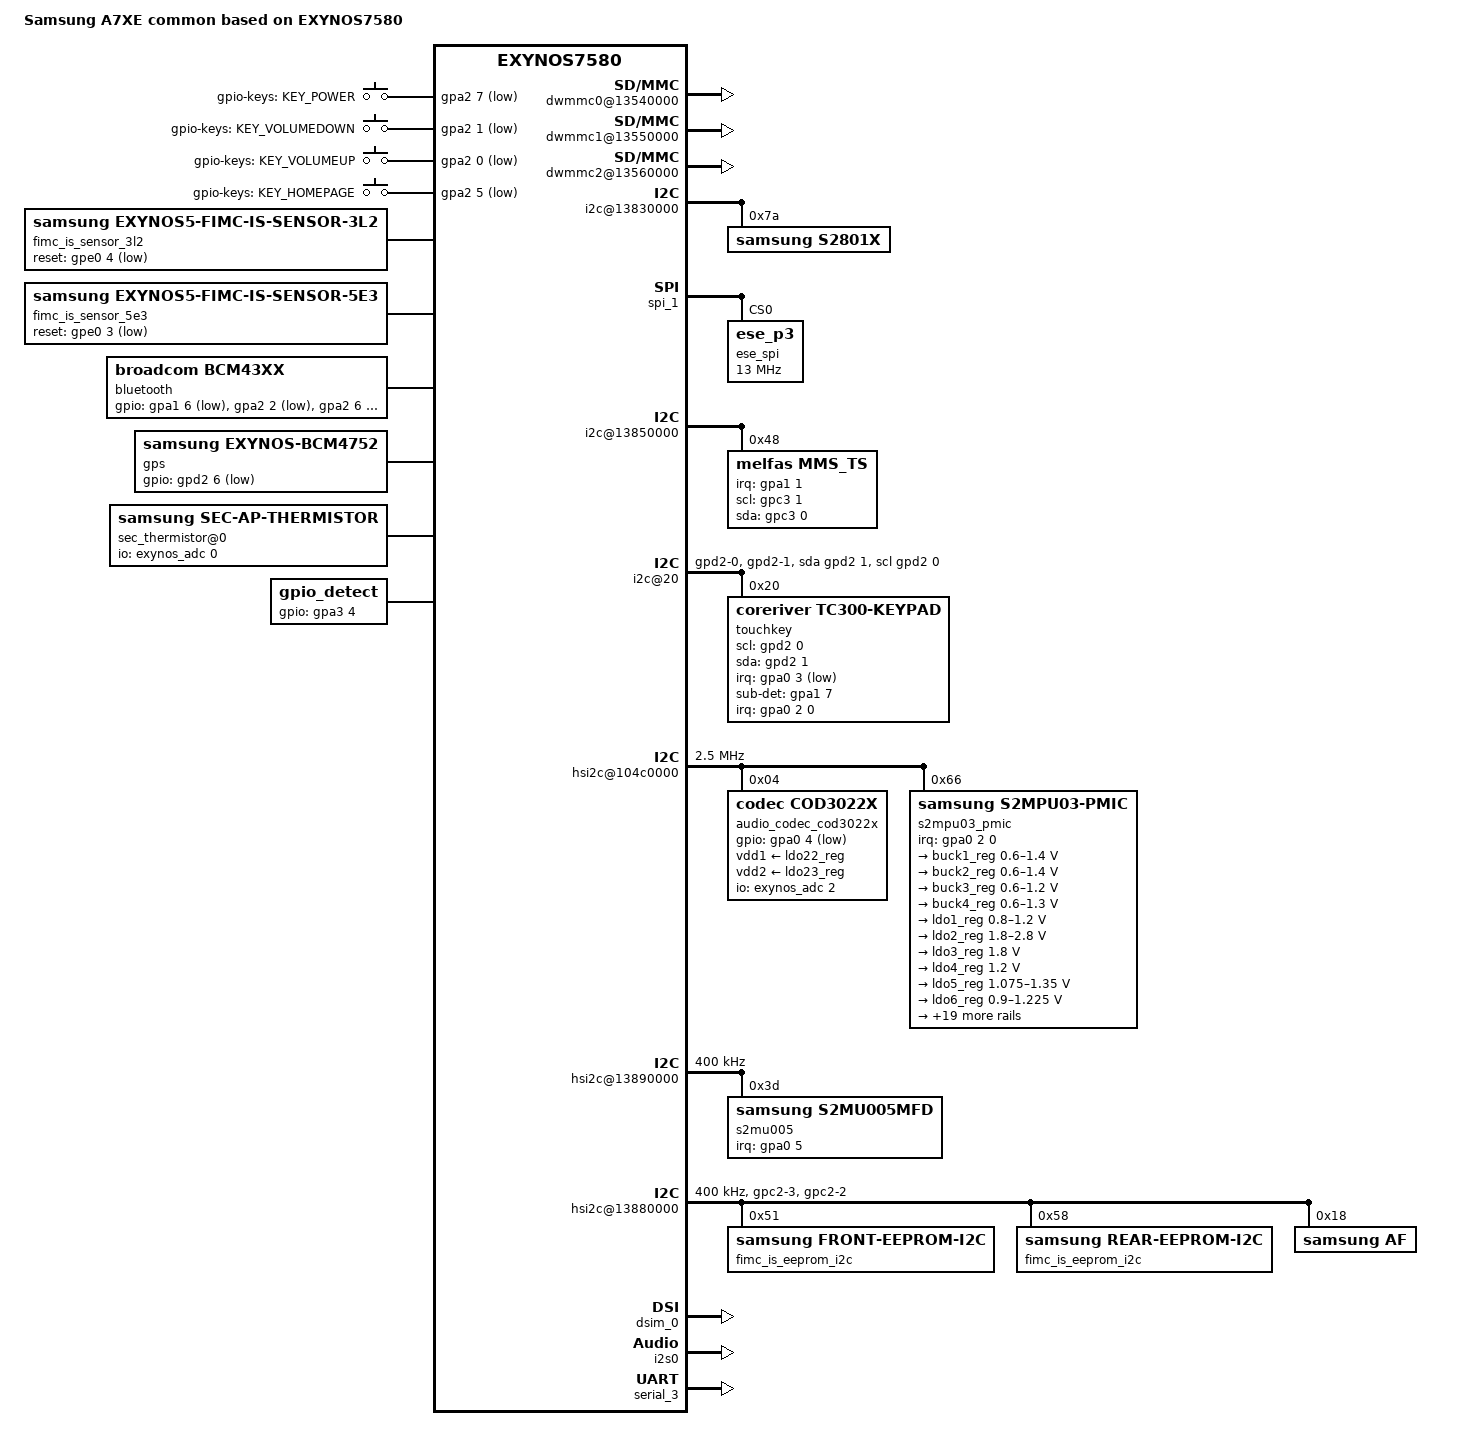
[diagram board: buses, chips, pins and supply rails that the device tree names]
/*
 * SAMSUNG A7XE board device tree source
 *
 *
 * This program is free software; you can redistribute it and/or modify
 * it under the terms of the GNU General Public License version 2 as
 * published by the Free Software Foundation.
 */

#include "exynos7580.dtsi"

/ {
	model = "Samsung A7XE common based on EXYNOS7580";
	compatible = "samsung,exynos7580-universal7580,r01", "samsung,exynos7580";

	chosen {
		bootargs = "console=ttySAC1,115200n8 ess_setup=0x46000000 pmic_info=0x02";
		linux,initrd-start = <0x42000000>;
		linux,initrd-end = <0x421FFFFF>;
	};

	fixed-rate-clocks {
		oscclk {
			compatible = "samsung,exynos7580-oscclk";
			clock-frequency = <26000000>;
		};
	};

	dwmmc0@13540000 {
		status = "okay";
		num-slots = <1>;
		broken-cd;
		use-smu;
		fixed_volt;
		clock-gate;
		enable-cclk-on-suspend;
		only_once_tune;
		use-fine-tuning;
		ignore-phase = <(1 << 7)>;
		bypass-for-allpass;
		supports-highspeed;
		supports-hs200-mode;
		supports-ddr200-enhanced-strobe;
		supports-poweroff-notification;
		supports-ddr200-mode;
		enable-cache-control;
		use-enable-shift;
		enable-ulp-mode;
		desc-size = <4>;
		qos_int_level = <200000>;
		fifo-depth = <0x40>;
		card-detect-delay = <0>;
		data-timeout = <200>;
		samsung,dw-mshc-ciu-div = <3>;
		samsung,dw-mshc-sdr-timing = <3 0 2 0>;
		samsung,dw-mshc-ddr-timing = <3 0 2 2>;
		samsung,dw-mshc-hs200-timing = <3 0 3 0>;
		samsung,dw-mshc-ddr200-timing = <1 0 2 0>;
		samsung,dw-mshc-ddr200-ulp-timing = <3 0 3 0>;
		samsung,dw-mshc-ddr200-delay-line = <0x28>;
		samsung,dw-mshc-ddr200-tx-delay-line = <0x28>;
		samsung,dw-mshc-txdt-crc-timer-fastlimit = <0x34>;
		samsung,dw-mshc-txdt-crc-timer-initval = <0x38>;
		clk_pin = "gpr0-0";
		clk_addr = "13750000.pinctrl";
		clk_val = <0x2>;
		clk_str_num = <4>;
		num-ref-clks = <10>;
		ciu_clkin = <25 50 50 100 200 100 200 400 400 200>;
		pinctrl-names = "default";
		pinctrl-0 = <&sd0_clk &sd0_cmd &sd0_rdqs &sd0_bus1 &sd0_bus4 &sd0_bus8>;
		slot@0 {
			reg = <0>;
			bus-width = <8>;
		};
	};

	dwmmc1@13550000 {
		status = "okay";
		num-slots = <1>;
		channel = <1>;
		fixed_volt;
		clock-gate;
		enable-cclk-on-suspend;
		/* broken-cd; */
		caps-control;
		supports-highspeed;
		keep-power-in-suspend;
		pm-ignore-notify;
		cd-type-external;
		use-broken-voltage;
		use-fine-tuning;
		ignore-phase = <(1 << 7)>;
		fifo-depth = <0x40>;
		card-detect-delay = <200>;
		qos_int_level = <468000>;
		samsung,dw-mshc-ciu-div = <3>;
		samsung,dw-mshc-sdr-timing = <3 0 2 1>;
		samsung,dw-mshc-ddr-timing = <3 0 2 1>;
		clk_pin = "gpr2-0";
		clk_addr = "13750000.pinctrl";
		clk_val = <0x2>;
		clk_str_num = <4>;
		num-ref-clks = <8>;
		ciu_clkin = <25 50 50 100 200 100 200 400>;
		pinctrl-names = "default";
		pinctrl-0 = <&sd1_clk &sd1_cmd &sd1_bus1 &sd1_bus4>;
		slot@0 {
			reg = <0>;
			bus-width = <4>;
		};
	};

	dwmmc2@13560000 {
		status = "okay";
		num-slots = <1>;
		supports-highspeed;
		enable-cclk-on-suspend;
		supports-sdr104-mode;
		bypass-smu;
		use-fine-tuning;
		clock-gate;
		fifo-depth = <0x40>;
		card-detect-delay = <400>;
		data-timeout = <200>;
		ignore-phase = <(1 << 7)>;
		bypass-for-allpass;
		desc-size = <4>;
		samsung,dw-mshc-ciu-div = <3>;
		samsung,dw-mshc-sdr-timing = <3 0 2 0>;
		samsung,dw-mshc-ddr-timing = <3 0 2 1>;
		clk_pin = "gpr4-0";
		clk_addr = "13750000.pinctrl";
		clk_val = <0x2>;
		clk_str_num = <4>;
		num-ref-clks = <8>;
		ciu_clkin = <25 50 50 100 200 100 200 400>;
		pinctrl-names = "default", "output";
		pinctrl-0 = <&sd2_clk &sd2_cmd &sd2_bus1 &sd2_bus4 &dwmmc2_cd_ext_irq>;
		pinctrl-1 = <&sd2_clk_output &sd2_cmd_output &sd2_bus1 &sd2_bus4 &dwmmc2_cd_ext_irq>;
		cd-type-gpio;
		gpio-controller;
		sec-sd-slot-type = <1>; /* hot-plug type */
		#gpio-cells = <2>;
		cd-gpio = <&gpa3 1 0xf>;
		slot@0 {
			reg = <0>;
			bus-width = <4>;
			disable-wp;
		};
	};

	gpio_keys{
		compatible = "gpio-keys";
		pinctrl-names = "default";
		pinctrl-0 = <&gpa2_pull_up_univ>;

		button@1 {
			label = "gpio-keys: KEY_POWER";
			interrupt-parent = <&gpa2>;
			linux,code = <116>;
			gpios = <&gpa2 7 0xf>;
			gpio-key,wakeup = <1>;
		};
		button@2 {
			label = "gpio-keys: KEY_VOLUMEDOWN";
			interrupt-parent = <&gpa2>;
			linux,code = <114>;
			gpios = <&gpa2 1 0xf>;
		};
		button@3 {
			label = "gpio-keys: KEY_VOLUMEUP";
			interrupt-parent = <&gpa2>;
			linux,code = <115>;
			gpios = <&gpa2 0 0xf>;
		};
		button@4 {
			label = "gpio-keys: KEY_HOMEPAGE";
			interrupt-parent = <&gpa2>;
			linux,code = <172>;
			gpios = <&gpa2 5 0xf>;
			gpio-key,wakeup = <1>;
		};
	};

	pinctrl@13750000 {
		sd0_clk: sd0-clk {
			samsung,pin-drv = <3>;
		};
		sd0_bus1: sd0-bus-width1 {
			samsung,pin-drv = <3>;
		};
		sd0_bus4: sd0-bus-width4 {
			samsung,pin-drv = <3>;
		};
		sd0_bus8: sd0-bus-width8 {
			samsung,pin-drv = <3>;
		};
		sd1_bus1: sd1-bus-width1 {
			samsung,pin-pud = <3>;
		};
		sd1_bus4: sd1-bus-width4 {
			samsung,pin-pud = <3>;
		};
	};

	i2c@13830000 {
		samsung,i2c-sda-delay = <100>;
		samsung,i2c-max-bus-freq = <400000>;
		status = "okay";
		#address-cells = <1>;
		#size-cells = <0>;
		supports-bus-clear;

		s2801x: s2801x@7a {
			compatible = "samsung,s2801x";
			reg = <0x7a>;
			clocks = <&clock 154>,	/* sclk_audmixer */
				 <&clock 155>,	/* sclk_audmixer_bclk0*/
				 <&clock 156>,	/* sclk_audmixer_bclk1 */
				 <&clock 157>,	/* sclk_audmixer_bclk2 */
				 <&clock 152>,	/* bclk_mi2s */
				 <&clock 149>;	/* dout_audmixer*/

			clock-names = "audmixer_sysclk", "audmixer_bclk0",
					"audmixer_bclk1", "audmixer_bclk2",
					"mi2s_bclk", "audmixer_dout";
			sysreg-reset = <0x110F2000>;
			sysreg-i2c = <0x110F3000>;
			pinctrl-names = "default", "idle", "bt-idle";
			pinctrl-0 = <&i2s_pmic_bus
					&i2s2_codec_clk
					&pcm_bt_bus
					&pcm_bt1_bus>;
			pinctrl-1 = <&i2s_pmic_bus_idle
					&i2s2_codec_clk_idle
					&pcm_bt_bus_idle
					&pcm_bt1_bus_idle>;
			pinctrl-2 = <&i2s_pmic_bus
					&i2s2_codec_clk
					&pcm_bt_bus_idle
					&pcm_bt1_bus_idle>;
			samsung,lpass-subip;
		};
	};

	spi_1: spi@13920000 {
		status = "okay";
		#address-cells = <1>;
		#size-cells = <0>;
		pinctrl-names = "default";
		pinctrl-0 = <&spi1_bus &ese_cs_func>;

		ese_spi@0 {
			compatible = "ese_p3";
			reg = <0>;
			spi-max-frequency = <13000000>;

			gpio-controller;
			#gpio-cells = <2>;

			p3-ese_pwr_req = <&gpd1 6 1>;

			controller-data {
				samsung,spi-feedback-delay = <0>;
				samsung,spi-chip-select-mode = <0>;
				cs-gpio = <&gpc4 2 0>;
			};
		};
	};

	
	pinctrl@139B0000 {
		if_pmic_irq: if-pmic-irq {
			samsung,pins = "gpa0-5";
			samsung,pin-pud = <3>;
			samsung,pin-drv = <3>;
		};
		attn_input: attn-input {
			samsung,pins = "gpa1-1";
			samsung,pin-function = <0>;
			samsung,pin-pud = <0>;
			samsung,pin-drv = <0>;
		};
		attn_irq: attn-irq {
			samsung,pins = "gpa1-1";
			samsung,pin-function = <0xf>;
			samsung,pin-pud = <0>;
			samsung,pin-drv = <0>;
		};
		cfg_irq: cfg-irq {
			samsung,pins = "gpa0-3";
			samsung,pin-function = <0xf>;
			samsung,pin-pud = <3>;
			samsung,pin-drv = <0>;
		};
		cfg_input: cfg-input {
			samsung,pins = "gpa0-3";
			samsung,pin-function = <0>;
			samsung,pin-pud = <1>;
			samsung,pin-drv = <0>;
		};
		sub_det: sub-det {
			samsung,pins = "gpa1-7";
			samsung,pin-function = <0>;
			samsung,pin-pud = <0>;
			samsung,pin-drv = <0>;
		};
	};

	pinctrl@139C0000 {
		cfg_i2c: cfg-i2c {
			samsung,pins = "gpd2-0", "gpd2-1";
			samsung,pin-function = <2>;
			samsung,pin-pud = <0>;
			samsung,pin-drv = <0>;
		};
		cfg_gpio: cfg-gpio {
			samsung,pins = "gpd2-0", "gpd2-1";
			samsung,pin-function = <0>;
			samsung,pin-pud = <0>;
			samsung,pin-drv = <0>;
		};
	};

	i2c@13850000 {
		samsung,i2c-sda-delay = <100>;
		samsung,i2c-max-bus-freq = <400000>;
		samsung,stop-after-trans;
		status = "okay";
		#address-cells = <1>;
		#size-cells = <0>;

		mms_ts@48 {
			compatible = "melfas,mms_ts";
			reg = <0x48>;
			pinctrl-names = "on_state", "off_state";
			pinctrl-0 = <&attn_irq>;
			pinctrl-1 = <&attn_input>;
			melfas,vdd_en = "tsp_avdd";
			melfas,irq-gpio = <&gpa1 1 0>;
			melfas,scl-gpio = <&gpc3 1 0>;
			melfas,sda-gpio = <&gpc3 0 0>;
			melfas,max_x = <1080>;
			melfas,max_y = <1920>;
			melfas,fw_name = "tsp_melfas/mms438_j7x.fw";
		};
	};

	i2c@20 {
		compatible = "i2c-gpio";
		gpios = <&gpd2 1 0
				&gpd2 0 0>;
		i2c-gpio,delay-us = <2>;
		#address-cells = <1>;
		#size-cells = <0>;
		status = "okay";
		pinctrl-names = "default","on_i2c","off_i2c";
		pinctrl-0 = <&cfg_i2c>;
		pinctrl-1 = <&cfg_i2c>;
		pinctrl-2 = <&cfg_gpio>;
		touchkey@20 {
			pinctrl-names = "on_irq","off_irq","sub_det";
			pinctrl-0 = <&cfg_irq>;
			pinctrl-1 = <&cfg_input>;
			compatible = "coreriver,tc300-keypad";
			reg = <0x20>;
			interrupts = <2 0 0>;
			interrupt-parent = <&gpa0>;
			coreriver,scl-gpio = <&gpd2 0 0>;
			coreriver,sda-gpio = <&gpd2 1 0>;
			coreriver,irq-gpio = <&gpa0 3 1>;
			coreriver,sub-det-gpio = <&gpa1 7 0>;
			coreriver,regulator_ic = "vtouch_2.8v";
			coreriver,fw_name = "coreriver/tc305k_j7x.fw";
			coreriver,sensing_ch_num = <0x4>;
			coreriver,tsk_ic_num = <0x1>; /* tc300k : 0x00, tc350k : 0x01 */
			coreriver,use_bitmap = <1>;
		};
	};
/*
	i2c@25 {
		compatible = "i2c-gpio";
		gpios = <&gpd3 4 0
			&gpd3 3 0>;
		i2c-gpio,delay-us = <5>;
		#address-cells = <1>;
		#size-cells = <0>;
		status = "okay";

		muic-sm5705@25 {
			compatible = "muic-universal";
			reg = <0x25>;
			pinctrl-names = "default";
			pinctrl-0 = <&muic_irq>;
			muic-universal,chip_name = "sm,sm5705";
			muic-universal,irq-gpio = <&gpa1 3 0>;
			muic-universal,wakeup;
		};
	};

	muic {
		status = "okay";
		muic,support-list = "+OTG:GND",
			"-MHL:1K",
			"-VZW Accessory:28.7K",
			"-VZW Incompatible:34K",
			"-Smartdock:40.2K",
			"+HMT:49.9K",
			"-Audiodock:64.9K",
			"-USB LANHUB:80.07K",
			"+Charging Cable:102K",
			"-Universal Multimedia dock:121K",
			"+Jig USB Off:255K",
			"+Jig USB On:301K",
			"+Deskdock:365K",
			"+TYPE2 Charger:442K",
			"+Jig UART Off:523K",
			"+Jig UART On:619K",
			"+TA:OPEN",
			"+USB:OPEN",
			"+CDP:OPEN",
			"+Undefined Charging:XXX";
	};
*/
	but_zones: but_zones {
		#list-but-cells = <3>;
	};

	hsi2c@104c0000 {
		status = "okay";
		samsung,hs-mode;
		clock-frequency = <2500000>;
		samsung,hsi2c-batcher;
		#address-cells = <1>;
		#size-cells = <0>;

		audio_codec_cod3022x: cod3022x@04 {
			compatible = "codec,cod3022x";
			reg = <0x04>;
			ten-bit-address;
			vdd1-supply = <&ldo22_reg>;
			vdd2-supply = <&ldo23_reg>;
			pinctrl-names = "default";
			pinctrl-0 = <&cod3022_irq>;
			interrupt-parent = <&gpa0>;
			gpios = <&gpa0 4 0xf>;
			/* Mic Bias: 0->2.1v, 1->2.5v, 2->2.6v, 3->3.0v */
			mic-bias1-voltage = <1>;
			mic-bias2-voltage = <1>;
			use-btn-adc-mode;
			io-channels = <&exynos_adc 2>;
			io-channel-names = "adc-jack";
			#io-channel-cells = <1>;
			io-channel-ranges;
			but-zones-list = <&but_zones 226 0 240>, /* send/end */
					<&but_zones 582 241 315>, /* google */
					<&but_zones 115 316 520>, /* vol up */
					<&but_zones 114 521 900>; /* vol down */
			mic-adc-range = <1380>;
			btn-release-value = <1000>;
			mic-det-delay = <50>;
		};

		s2mpu03_pmic@66 {
			compatible = "samsung,s2mpu03-pmic";
			reg = <0x66>;
			ten-bit-address;
			interrupts = <2 0 0>;
			interrupt-parent = <&gpa0>;
			pinctrl-names = "default";
			pinctrl-0 = <&pmic_irq &pm_wrsti>;
			g3d_en = <1>; /* 1 : enable , 0 : disable */
			/*
			buck4en_pin = "etc1-3";
			buck4en_addr = "1111111.pinctrl";
			*/
			/* RTC: wtsr/smpl */
			wtsr_en = <1>; /* enable */
			smpl_en = <1>; /* enable */
			wtsr_timer_val = <3>;   /* 1000ms */
			smpl_timer_val = <4>;   /* 500ms */
			check_jigon = <0>; /* do not check jigon */
			/* RTC: If it's first boot, reset rtc to 1/1/2016 12:00:00(Fri) */
			init_time,sec = <0>;
			init_time,min = <0>;
			init_time,hour = <12>;
			init_time,mday = <1>;
			init_time,mon = <0>;
			init_time,year = <116>;
			init_time,wday = <5>;

			regulators {
				buck1_reg: BUCK1 {
					regulator-name = "cpu-cluster.1";
					regulator-min-microvolt = <600000>;
					regulator-max-microvolt = <1400000>;
					regulator-always-on;
					regulator-boot-on;
					regulator-ramp-delay = <12000>;
					regulator-initial-mode = <1>;
				};

				buck2_reg: BUCK2 {
					regulator-name = "cpu-cluster.0";
					regulator-min-microvolt = <600000>;
					regulator-max-microvolt = <1400000>;
					regulator-always-on;
					regulator-boot-on;
					regulator-ramp-delay = <12000>;
					regulator-initial-mode = <1>;
				};

				buck3_reg: BUCK3 {
					regulator-name = "vdd_intmif";
					regulator-min-microvolt = <600000>;
					regulator-max-microvolt = <1200000>;
					regulator-always-on;
					regulator-boot-on;
					regulator-ramp-delay = <12000>;
					regulator-initial-mode = <1>;
				};

				buck4_reg: BUCK4 {
					regulator-name = "vdd_g3d";
					regulator-min-microvolt = <600000>;
					regulator-max-microvolt = <1300000>;
					regulator-always-on;
					regulator-boot-on;
					regulator-ramp-delay = <12000>;
					regulator-initial-mode = <1>;
				};

				ldo1_reg: LDO1 {
					regulator-name = "vdd_ldo1";
					regulator-min-microvolt = <800000>;
					regulator-max-microvolt = <1200000>;
					regulator-always-on;
					regulator-ramp-delay = <12000>;
					regulator-initial-mode = <3>;
				};

				ldo2_reg: LDO2 {
					regulator-name = "vqmmc";
					regulator-min-microvolt = <1800000>;
					regulator-max-microvolt = <2800000>;
					regulator-boot-on;
					regulator-ramp-delay = <12000>;
					regulator-initial-mode = <1>;
				};

				ldo3_reg: LDO3 {
					regulator-name = "vdd_ldo3";
					regulator-min-microvolt = <1800000>;
					regulator-max-microvolt = <1800000>;
					regulator-boot-on;
					regulator-always-on;
					regulator-ramp-delay = <12000>;
					regulator-initial-mode = <3>;
				};

				ldo4_reg: LDO4 {
					regulator-name = "vdd_ldo4";
					regulator-min-microvolt = <1200000>;
					regulator-max-microvolt = <1200000>;
					regulator-boot-on;
					regulator-always-on;
					regulator-ramp-delay = <12000>;
					regulator-initial-mode = <1>;
				};

				ldo5_reg: LDO5 {
					regulator-name = "vdd_ldo5";
					regulator-min-microvolt = <1075000>;
					regulator-max-microvolt = <1350000>;
					regulator-boot-on;
					regulator-always-on;
					regulator-ramp-delay = <12000>;
					regulator-initial-mode = <3>;
				};

				ldo6_reg: LDO6 {
					regulator-name = "vdd_ldo6";
					regulator-min-microvolt = <900000>;
					regulator-max-microvolt = <1225000>;
					regulator-boot-on;
					regulator-always-on;
					regulator-ramp-delay = <12000>;
					regulator-initial-mode = <1>;
				};

				ldo7_reg: LDO7 {
					regulator-name = "vdd_ldo7";
					regulator-min-microvolt = <1600000>;
					regulator-max-microvolt = <2000000>;
					regulator-boot-on;
					regulator-always-on;
					regulator-initial-mode = <1>;
				};

				ldo8_reg: LDO8 {
					regulator-name = "vdd_ldo8";
					regulator-min-microvolt = <3300000>;
					regulator-max-microvolt = <3300000>;
					regulator-boot-on;
					regulator-always-on;
					regulator-initial-mode = <1>;
				};

				ldo10_reg: LDO10 {
					regulator-name = "vdd_ldo10";
					regulator-min-microvolt = <800000>;
					regulator-max-microvolt = <1350000>;
					regulator-always-on;
					regulator-initial-mode = <1>;
				};

				ldo22_reg: LDO22 {
					regulator-name = "codec_ldo22";
					regulator-min-microvolt = <1000000>;
					regulator-max-microvolt = <2375000>;
					regulator-initial-mode = <3>;
				};

				ldo23_reg: LDO23 {
					regulator-name = "codec_ldo23";
					regulator-min-microvolt = <1900000>;
					regulator-max-microvolt = <1900000>;
					regulator-initial-mode = <3>;
				};

				ldo26_reg: LDO26 {
					regulator-name = "vmmc";
					regulator-min-microvolt = <2800000>;
					regulator-max-microvolt = <2800000>;
					regulator-boot-on;
					regulator-initial-mode = <1>;
				};

				ldo27_reg: LDO27 {
					regulator-name = "VDDIO_1.8V_CAM";
					regulator-min-microvolt = <1800000>;
					regulator-max-microvolt = <1800000>;
					regulator-initial-mode = <0>;
				};

				ldo28_reg: LDO28 {
					regulator-name = "vtouch_2.8v";
					regulator-min-microvolt = <2800000>;
					regulator-max-microvolt = <2800000>;
					regulator-boot-on;
				};

				ldo29_reg: LDO29 {
					regulator-name = "VDDAF_2.8V_CAM";
					regulator-min-microvolt = <2800000>;
					regulator-max-microvolt = <2800000>;
					regulator-boot-on;
				};

				ldo30_reg: LDO30 {
					regulator-name = "LCD_3P0";
					regulator-min-microvolt = <3000000>;
					regulator-max-microvolt = <3000000>;
					regulator-boot-on;
					regulator-initial-mode = <3>;
				};

				ldo31_reg: LDO31 {
					regulator-name = "LCD_1P8";
					regulator-min-microvolt = <1800000>;
					regulator-max-microvolt = <1800000>;
					regulator-boot-on;
					regulator-initial-mode = <3>;
				};

				ldo32_reg: LDO32 {
					regulator-name = "VDD_VTCAM_1P2";
					regulator-min-microvolt = <1250000>;
					regulator-max-microvolt = <1250000>;
					regulator-initial-mode = <0>;
				};

				ldo33_reg: LDO33 {
					regulator-name = "tsp_avdd";
					regulator-min-microvolt = <3300000>;
					regulator-max-microvolt = <3300000>;
				};

				ldo34_reg: LDO34 {
					regulator-name = "VDD_MOTOR_3P3";
					regulator-min-microvolt = <3300000>;
					regulator-max-microvolt = <3300000>;
				};

				ldo35_reg: LDO35 {
					regulator-name = "VDD_CAM_SENSOR_A2P8";
					regulator-min-microvolt = <2800000>;
					regulator-max-microvolt = <2800000>;
					regulator-initial-mode = <0>;
				};

				ldo36_reg: LDO36 {
					regulator-name = "VDD_CAM_1P2";
					regulator-min-microvolt = <1250000>;
					regulator-max-microvolt = <1250000>;
					regulator-initial-mode = <0>;
				};

				ldo37_reg: LDO37 {
					regulator-name = "ldo37";
					regulator-min-microvolt = <3300000>;
					regulator-max-microvolt = <3300000>;
					regulator-initial-mode = <0>;
				};

				ldo38_reg: LDO38 {
					regulator-name = "ldo38";
					regulator-min-microvolt = <2800000>;
					regulator-max-microvolt = <2800000>;
					regulator-boot-on;
					regulator-always-on;
					regulator-initial-mode = <1>;
				};

				ldo39_reg: LDO39 {
					regulator-name = "ldo39";
					regulator-min-microvolt = <1800000>;
					regulator-max-microvolt = <1800000>;
					regulator-boot-on;
					regulator-always-on;
					regulator-initial-mode = <3>;
				};
			};
		};
	};

	pinctrl@139C0000 {
		fled_flash_sleep: fled-flash-sleep {
			samsung,pins = "gpe0-2", "gpe0-1";
			samsung,pin-function = <2>;
			samsung,pin-pud = <1>;
			samsung,pin-drv = <3>;
		};
		fled_flash_active: fled-flash-active {
			samsung,pins = "gpe0-2", "gpe0-1";
			samsung,pin-function = <1>;
			samsung,pin-pud = <1>;
			samsung,pin-drv = <0>;
		};
	};

	hsi2c@13890000 {
		status = "okay";
		clock-frequency = <400000>;

		s2mu005@3d {
				compatible = "samsung,s2mu005mfd";
				reg = <0x3d>;
				pinctrl-names = "default","fled_default","fled_sleep";
				pinctrl-0 = <&if_pmic_irq>;
				pinctrl-1 = <&fled_flash_active>;
				pinctrl-2 = <&fled_flash_sleep>;
				s2mu005,irq-gpio = <&gpa0 5 0>;
				s2mu005,wakeup;
				muic {
					status = "okay";
					muic,uart_addr = "139c0000.pinctrl";
					muic,uart_rxd = "gpb1-0";
					muic,uart_txd = "gpb1-1";
				};

				leds {
					flash-gpio = <&gpe0 2 0>;
					torch-gpio = <&gpe0 1 0>;

					flash_current = <1200>;
					preflash_current = <150>;
					movie_current = <175>; /*unused*/
					torch_current = <75>;
					factory_current = <300>;
					front_torch_current = <50>;

					status = "okay";
					s2mu005-leds1 {
						ledname = "leds-sec1";
						id = <0>;
						timeout = <15>; /* use gpio */
					};

					s2mu005-leds2 {
						ledname = "leds-sec2";
						id = <1>;
						timeout = <15>; /* use gpio */
					};
				};
			};
	};

	pinctrl@139C0000 {
		hs_i2c1_bus_off: hs-i2c1-bus-off {
			samsung,pins = "gpc2-3", "gpc2-2";
			samsung,pin-function = <2>;
			samsung,pin-pud = <0>;
			samsung,pin-drv = <0>;
		};
	};

	hsi2c@13880000 {
		status = "okay";
		clock-frequency = <400000>;
		pinctrl-names = "default";
		pinctrl-0 = <&hs_i2c1_bus_off>;
		fimc_is_eeprom_i2c@51{
			compatible = "samsung,front-eeprom-i2c";
			reg = <0x51>;
			use_i2c_pinctrl;
			fimc_is_front_eeprom_pinname = "139c0000.pinctrl"; /* it must be lowercase letters */
			fimc_is_front_eeprom_sda = "gpc2-2";
			fimc_is_front_eeprom_scl = "gpc2-3";
			pinfunc_on = <2>;
			pinfunc_off = <0>;
		};

		fimc_is_eeprom_i2c@58 {
			compatible = "samsung,rear-eeprom-i2c";
			reg = <0x58>;
			use_i2c_pinctrl;
			fimc_is_rear_eeprom_pinname = "139c0000.pinctrl"; /* it must be lowercase letters */
			fimc_is_rear_eeprom_sda = "gpc2-2";
			fimc_is_rear_eeprom_scl = "gpc2-3";
			pinfunc_on = <2>;
			pinfunc_off = <0>;
		};

		af@18{
			compatible = "samsung,af";
			reg = <0x18>;
			use_i2c_pinctrl;
			fimc_is_af_pinname = "139c0000.pinctrl"; /* it must be lowercase letters */
			fimc_is_af_sda = "gpc2-2";
			fimc_is_af_scl = "gpc2-3";
			pinfunc_on = <2>;
			pinfunc_off = <0>;
		};
	};

	fimc_is_sensor_3l2: fimc-is_sensor_3l2@0 {
		compatible = "samsung,exynos5-fimc-is-sensor-3l2";

		pinctrl-names = "pin0", "pin1";
		pinctrl-0 = <&fimc_is_mclk0_fn &fimc_is_i2c0 &fimc_is_i2c1>; /* rear on */
		pinctrl-1 = <&fimc_is_mclk0_in>; /* rear off */

		position = <0>; /* Rear:0. Front:1 */
		id = <0>; /* bns_id */
		mclk_ch = <0>;
		sensor_i2c_ch = <0>; /* I2C 0 */
		sensor_i2c_addr = <0x5A>;

		gpio_reset = <&gpe0 4 0x1>; /* sensor reset */
		status = "okay";

		af {
			product_name = <14>; /* ZC533 */
			i2c_addr = <0x18>;
			i2c_ch = <1>; /* I2C 1 */
		};

		flash {
			product_name = <11>; /* GPIO */
			flash_first_gpio = <2>;
			flash_second_gpio = <1>;
		};
	};

	fimc_is_sensor_5e3: fimc-is_sensor_5e3@0 {
		compatible = "samsung,exynos5-fimc-is-sensor-5e3";

		pinctrl-names = "pin0", "pin1";
		pinctrl-0 = <&fimc_is_mclk1_fn &fimc_is_i2c1>; /* front on */
		pinctrl-1 = <&fimc_is_mclk1_in>; /* front off */

		position = <1>; /* Rear:0. Front:1 */
		id = <1>; /* bns_id */
		mclk_ch = <1>;
		sensor_i2c_ch = <1>;
		sensor_i2c_addr = <0x0>;

		gpio_reset = <&gpe0 3 0x1>;
		status = "okay";

		flash {
			product_name = <11>; /* GPIO */
			flash_first_gpio = <1>;
			flash_second_gpio = <1>;
		};
	};


	fimc_is_sensor0: fimc_is_sensor@144a0000 {
		scenario = <0>;
		id = <0>;
		mclk_ch = <0>;
		csi_ch = <0>;
		flite_ch = <0>;
		i2c_ch = <0>;
		i2c_addr = <0x0>;
		is_bns = <1>;
		status = "okay";
	};

	fimc_is_sensor1: fimc_is_sensor@144b0000 {
		scenario = <0>;
		id = <1>;
		mclk_ch = <1>;
		csi_ch = <1>;
		flite_ch = <1>;
		i2c_ch = <1>;
		i2c_addr = <0x0>;
		is_bns = <0>;
		status = "okay";
	};

	fimc_is@14400000 {
		rear_sensor_id = <8>; /* SENSOR_NAME_S5K3L2 */
		front_sensor_id = <17>; /* SENSOR_NAME_S5K5E3 */
		use_module_check;

		total_camera_num = <2>;
		camera_info0 {				// 0 : rear
			isp = <0>;			/* 0 : INT , 1 : EXT , 2 : SOC */
			cal_memory = <2>;		/* 0 : N , 1 : FROM , 2 : EEPROM , 3 : OTP  */
			read_version = <0>;		/* 0 : SYSFS , 1 : CAMON */
			core_voltage = <0>;		/* 0 : N , 1 : Y  */
			upgrade = <0>;			/* 0 : N , 1 : SYSFS , 2 : CAMON */
			companion = <0>;		/* 0 : N , 1 : Y  */
			ois = <0>;				/* 0 : N , 1 : Y  */
		};
		camera_info1 {				// 1 : front
			isp = <0>;			/* 0 : INT , 1 : EXT , 2 : SOC */
			cal_memory = <2>;		/* 0 : N , 1 : FROM , 2 : EEPROM , 3 : OTP  */
			read_version = <0>;		/* 0 : SYSFS , 1 : CAMON */
			core_voltage = <0>;		/* 0 : N , 1 : Y  */
			upgrade = <0>;			/* 0 : N , 1 : SYSFS , 2 : CAMON */
			companion = <0>;		/* 0 : N , 1 : Y  */
			ois = <0>;			/* 0 : N , 1 : Y  */
		};

		#define DVFS_INT_L0 400000
		#define DVFS_INT_L1 334000
		#define DVFS_INT_L2 267000
		#define DVFS_INT_L3 200000
		#define DVFS_INT_L4 160000
		#define DVFS_INT_L5 134000
		#define DVFS_INT_L6 111000
		#define DVFS_INT_L7 100000

		#define DVFS_CAM_L0 530000
		#define DVFS_CAM_L1 430000
		#define DVFS_CAM_L2 400000
		#define DVFS_CAM_L3 334000
		#define DVFS_CAM_L4 267000
		#define DVFS_CAM_L5 200000

		#define DVFS_MIF_L0 825000
		#define DVFS_MIF_L1 728000
		#define DVFS_MIF_L2 667000
		#define DVFS_MIF_L3 559000
		#define DVFS_MIF_L4 416000
		#define DVFS_MIF_L5 338000
		#define DVFS_MIF_L6 273000
		#define DVFS_MIF_L7 200000

		fimc_is_dvfs {
			default_int = <DVFS_INT_L0>;
			default_cam = <DVFS_CAM_L0>;
			default_mif = <DVFS_MIF_L0>;
			default_i2c = <0>;

			front_preview_int = <DVFS_INT_L3>;
			front_preview_cam = <DVFS_CAM_L4>;
			front_preview_mif = <DVFS_MIF_L3>;
			front_preview_i2c = <0>;

			front_capture_int = <DVFS_INT_L3>;
			front_capture_cam = <DVFS_CAM_L4>;
			front_capture_mif = <DVFS_MIF_L3>;
			front_capture_i2c = <0>;

			front_video_int = <DVFS_INT_L3>;
			front_video_cam = <DVFS_CAM_L4>;
			front_video_mif = <DVFS_MIF_L3>;
			front_video_i2c = <0>;

			front_video_whd_int = <DVFS_INT_L3>;
			front_video_whd_cam = <DVFS_CAM_L4>;
			front_video_whd_mif = <DVFS_MIF_L3>;
			front_video_whd_i2c = <0>;

			front_video_capture_int = <DVFS_INT_L3>;
			front_video_capture_cam = <DVFS_CAM_L4>;
			front_video_capture_mif = <DVFS_MIF_L3>;
			front_video_capture_i2c = <0>;

			front_video_whd_capture_int = <DVFS_INT_L0>;
			front_video_whd_capture_cam = <DVFS_CAM_L0>;
			front_video_whd_capture_mif = <DVFS_MIF_L0>;
			front_video_whd_capture_i2c = <0>;

			front_vt1_int = <DVFS_INT_L3>;
			front_vt1_cam = <DVFS_CAM_L4>;
			front_vt1_mif = <DVFS_MIF_L3>;
			front_vt1_i2c = <0>;

			front_vt2_int = <DVFS_INT_L3>;
			front_vt2_cam = <DVFS_CAM_L4>;
			front_vt2_mif = <DVFS_MIF_L3>;
			front_vt2_i2c = <0>;

			rear_preview_fhd_int = <DVFS_INT_L3>;
			rear_preview_fhd_cam = <DVFS_CAM_L2>;
			rear_preview_fhd_mif = <DVFS_MIF_L2>;
			rear_preview_fhd_i2c = <0>;

			rear_preview_whd_int = <DVFS_INT_L0>;
			rear_preview_whd_cam = <DVFS_CAM_L0>;
			rear_preview_whd_mif = <DVFS_MIF_L0>;
			rear_preview_whd_i2c = <0>;

			rear_preview_uhd_int = <DVFS_INT_L0>;
			rear_preview_uhd_cam = <DVFS_CAM_L0>;
			rear_preview_uhd_mif = <DVFS_MIF_L0>;
			rear_preview_uhd_i2c = <0>;

			rear_capture_int = <DVFS_INT_L3>;
			rear_capture_cam = <DVFS_CAM_L2>;
			rear_capture_mif = <DVFS_MIF_L2>;
			rear_capture_i2c = <0>;

			rear_video_fhd_int = <DVFS_INT_L3>;
			rear_video_fhd_cam = <DVFS_CAM_L2>;
			rear_video_fhd_mif = <DVFS_MIF_L2>;
			rear_video_fhd_i2c = <0>;

			rear_video_uhd_int = <DVFS_INT_L0>;
			rear_video_uhd_cam = <DVFS_CAM_L0>;
			rear_video_uhd_mif = <DVFS_MIF_L0>;
			rear_video_uhd_i2c = <0>;

			rear_video_fhd_capture_int = <DVFS_INT_L3>;
			rear_video_fhd_capture_cam = <DVFS_CAM_L2>;
			rear_video_fhd_capture_mif = <DVFS_MIF_L2>;
			rear_video_fhd_capture_i2c = <0>;

			rear_video_uhd_capture_int = <DVFS_INT_L0>;
			rear_video_uhd_capture_cam = <DVFS_CAM_L0>;
			rear_video_uhd_capture_mif = <DVFS_MIF_L0>;
			rear_video_uhd_capture_i2c = <0>;

			dual_preview_int = <DVFS_INT_L0>;
			dual_preview_cam = <DVFS_CAM_L0>;
			dual_preview_mif = <DVFS_MIF_L0>;
			dual_preview_i2c = <0>;

			dual_capture_int = <DVFS_INT_L0>;
			dual_capture_cam = <DVFS_CAM_L0>;
			dual_capture_mif = <DVFS_MIF_L0>;
			dual_capture_i2c = <0>;

			dual_video_int = <DVFS_INT_L0>;
			dual_video_cam = <DVFS_CAM_L0>;
			dual_video_mif = <DVFS_MIF_L0>;
			dual_video_i2c = <0>;

			dual_video_capture_int = <DVFS_INT_L0>;
			dual_video_capture_cam = <DVFS_CAM_L0>;
			dual_video_capture_mif = <DVFS_MIF_L0>;
			dual_video_capture_i2c = <0>;

			preview_high_speed_fps_int = <DVFS_INT_L0>;
			preview_high_speed_fps_cam = <DVFS_CAM_L0>;
			preview_high_speed_fps_mif = <DVFS_MIF_L0>;
			preview_high_speed_fps_i2c = <0>;

			video_high_speed_60fps_int = <DVFS_INT_L3>;
			video_high_speed_60fps_cam = <DVFS_CAM_L2>;
			video_high_speed_60fps_mif = <DVFS_MIF_L2>;
			video_high_speed_60fps_i2c = <0>;

			video_high_speed_120fps_int = <DVFS_INT_L3>;
			video_high_speed_120fps_cam = <DVFS_CAM_L4>;
			video_high_speed_120fps_mif = <DVFS_MIF_L3>;
			video_high_speed_120fps_i2c = <0>;

			max_int = <DVFS_INT_L0>;
			max_cam = <DVFS_CAM_L0>;
			max_mif = <DVFS_MIF_L0>;
			max_i2c = <0>;
		};
	};

	ion {
		compatible = "samsung,exynos5430-ion";
	};

	decon_fb@14830000 {
		/* XEINT7, GPIO & pin control */
		gpios = <&gpd0 7 0xf>;
		psr_mode = <2>;		/* 0: video mode, 1: DP command mode, 2: MIPI command mode */
		disp-pll-clk = <142000000>;
		/* gpio_err = <&gpa3 7 0x2>; */
		gpio_pcd = <&gpd2 4 0x1>;
		/* gpio_det = <&gpa0 6 0x1>; */
		status = "okay";
	};

	dsim_0: dsim@14800000 {
		lcd_info = <&s6e3fa3>;
		decon_board = <&decon_board_list>;
		status = "okay";
	};

	decon_board_list: decon_board_list {
		dsim_set_panel_power_enable {
			type = "regulator,enable", "regulator,enable", "delay,usleep", "pinctrl,turnon_tes";
			delay = <10000 11000>;
			regulator = "LCD_1P8", "LCD_3P0";
		};
		dsim_set_panel_power_disable {
			type = "pinctrl,turnoff_tes", "gpio,low", "regulator,disable", "regulator,disable";
			gpios = <&gpd1 3 0x1>;
			regulator = "LCD_3P0", "LCD_1P8";
		};
		dsim_reset_panel {
			type = "gpio,high", "delay,usleep", "gpio,low", "delay,usleep", "gpio,high", "delay,usleep";
			gpios = <&gpd1 3 0x1>, <&gpd1 3 0x1>, <&gpd1 3 0x1>;
			delay = <5000 6000>, <5000 6000>, <10000 11000>;
		};
	};

	pinctrl@139C0000 {
		disp_pcd: disp_pcd {
			samsung,pins = "gpd2-4";
			samsung,pin-function = <0xf>;
		};
		disp_pcd_off: disp_pcd_off {
			samsung,pins = "gpd2-4";
			samsung,pin-function = <1>;
			samsung,pin-val = <0>;
		};
	};

	s6e3fa3: s6e3fa3_fhd {
		mode = <2>;
		resolution = <1080 1920>;
		size = <68 121>;
		timing,refresh = <60>;
		timing,h-porch = <1 1 1>;
		timing,v-porch = <12 1 1>;
		timing,dsi-hs-clk = <996>;
		timing,dsi-escape-clk = <16>;
		mic = <0>;

		pinctrl-names = "off", "on";
		pinctrl-0 = <&disp_pcd_off>;
		pinctrl-1 = <&disp_pcd>;
	};

	i2s0: i2s@11040000 {
		status = "okay";
	};

	audio_cp_dummy: cp_dummy {
		compatible = "samsung,cp_dummy";
		status = "okay";
	};

	audio_bt_dummy: bt_dummy {
		compatible = "samsung,bt_dummy";
		status = "okay";
	};

	audio_fm_dummy: fm_dummy {
		compatible = "samsung,fm_dummy";
		status = "okay";
	};

	audio_codec_dummy: dummy-codec {
		compatible = "samsung,dummy-codec";
		status = "okay";
	};

	sound {
		compatible = "samsung,universal7580-cod3022x";
		samsung,audio-cpu = <&i2s0	/* primary */
					&i2s0	/* secondary */
					&audio_cp_dummy
					&audio_bt_dummy
					&audio_fm_dummy
					&eax
					&eax>;
		samsung,audio-codec = <&audio_codec_cod3022x
					&audio_codec_cod3022x
					&audio_codec_cod3022x
					&audio_codec_dummy
					&audio_codec_cod3022x
					&audio_codec_cod3022x
					&audio_codec_cod3022x>;
		samsung,auxdev = <&s2801x>;
		clocks = <&clock 151>;		 /* sclk_i2s */
		clock-names = "codec_bclk";
		mic-bias-mode = <1 2 1>;
		pinctrl-names = "default";
		status = "okay";
	};

	usb_notifier {
		compatible = "samsung,usb-notifier";
		samsung,can-disable-usb;
	};

	sec_vib {
		compatible = "sec_vib";
		sec_vib_pdata {
			status = "okay";
			sec_vib,max_timeout = <10000>;
			sec_vib,regulator = "VDD_MOTOR_3P3";
		};
	};

	serial_2: uart@13820000 {
		status = "disabled";
	};

	serial_3: uart@11060000 {
		/* Enable AUD-UART for Bluetooth */
		pinctrl-0 = <&uart_bt_active &uart_bt_output_sleep &uart_bt_input_sleep>;
		status = "okay";
	};

	bluetooth {
		compatible = "broadcom,bcm43XX";
		gpios = <&gpa1 6 0x1	/*BT_EN*/
				&gpa2 2 0x1	/*BT_WAKE*/
				&gpa2 6 0xF	/*BT_HOST_WAKE*/ >;
		pinctrl-names = "default";
		pinctrl-0=<&bt_hostwake &bt_btwake &bt_enable>;
		status = "okay";
	};
/*
	hall {
		compatible = "hall";
		pinctrl-names = "default";
		pinctrl-0 = <&hall_irq>;
		hall,gpio_flip_cover = <&gpa3 5 0x0>;
		status = "okay";
	};

	certify_hall {
		status = "okay";
		compatible = "certify_hall";
		pinctrl-names = "default";
		pinctrl-0 = <&certify_hall_irq>;
		certify_hall,gpio_certify_cover = <&gpa3 5 0x0>;
	};
*/
	input_booster {
		status = "okay";
		compatible = "input_booster";
		#address-cells = <1>;
		#size-cells = <0>;

		booster_key@1 {
			input_booster,label = "KEY";
			input_booster,type = <0>;	/* BOOSTER_DEVICE_KEY */

			input_booster,levels = <1>;

			/* Frequency table */
			/* for level	:	1_Head */
			input_booster,cpu_freqs = <1200000>;
			input_booster,hmp_boost = <0>;
			input_booster,kfc_freqs = <1200000>;
			input_booster,mif_freqs = <0>;
			input_booster,int_freqs = <0>;

			/* Time table */
			input_booster,head_times = <500>;
			input_booster,tail_times = <500>;
			input_booster,phase_times = <0>;
		};
		booster_key@2 {
			input_booster,label = "TOUCHKEY";
			input_booster,type = <1>;	/* BOOSTER_DEVICE_TOUCHKEY */

			input_booster,levels = <1>;

			/* Frequency table */
			/* for level	:	1_Head */
			input_booster,cpu_freqs = <1200000>;
			input_booster,hmp_boost = <0>;
			input_booster,kfc_freqs = <1200000>;
			input_booster,mif_freqs = <0>;
			input_booster,int_freqs = <0>;

			/* Time table */
			input_booster,head_times = <0>;
			input_booster,tail_times = <200>;
			input_booster,phase_times = <0>;
		};
		booster_key@3 {
			input_booster,label = "TOUCH";
			input_booster,type = <2>;	/* BOOSTER_DEVICE_TOUCH */

			input_booster,levels = <1 2 3>;

			/* Frequency table */
			/* for level	:	1_Head, 2_Head, 2_Tail */
			input_booster,cpu_freqs = <1200000 1200000 1000000>;
			input_booster,hmp_boost = <0 0 0>;
			input_booster,kfc_freqs = <1200000 1200000 1000000>;
			input_booster,mif_freqs = <0 0 0>;
			input_booster,int_freqs = <0 0 0>;

			/* Time table */
			input_booster,head_times = <200 200 0>;
			input_booster,tail_times = <300 300 0>;
			input_booster,phase_times = <0 0 0>;
		};
		booster_key@4 { // Input Booster +
			input_booster,label = "MULTITOUCH";
			input_booster,type = <3>;	/* BOOSTER_DEVICE_MULTITOUCH */

			input_booster,levels = <1 2>;

			/* Frequency table */
			/* for level	:	1_Head 2_Tail*/
			input_booster,cpu_freqs = <1400000 1000000>;
			input_booster,hmp_boost = <0 0>;
			input_booster,kfc_freqs = <1400000 1000000>;
			input_booster,mif_freqs = <0 0>;
			input_booster,int_freqs = <0 0>;

			/* Time table */
			input_booster,head_times = <1000 1000>;
			input_booster,tail_times = <500 500>;
			input_booster,phase_times = <0 0>;
		};
		booster_key@5 {
			input_booster,label = "KEYBOARD";
			input_booster,type = <4>;	/* BOOSTER_DEVICE_KEYBOARD */

			input_booster,levels = <1 2>;

			/* Frequency table */
			/* for level	:	1_Head 2_Tail*/
			input_booster,cpu_freqs = <1200000 1200000>;
			input_booster,hmp_boost = <0 0>;
			input_booster,kfc_freqs = <1200000 1200000>;
			input_booster,mif_freqs = <0 0>;
			input_booster,int_freqs = <0 0>;

			/* Time table */
			input_booster,head_times = <130 130>;
			input_booster,tail_times = <0 0>;
			input_booster,phase_times = <0 0>;
		};
		booster_key@6 {
			input_booster,label = "MOUSE";
			input_booster,type = <5>;	/* BOOSTER_DEVICE_MOUSE */

			input_booster,levels = <1 2>;

			/* Frequency table */
			/* for level	:	1_Head 2_Tail*/
			input_booster,cpu_freqs = <1200000 1000000>;
			input_booster,hmp_boost = <0 0>;
			input_booster,kfc_freqs = <1200000 1000000>;
			input_booster,mif_freqs = <0 0>;
			input_booster,int_freqs = <0 0>;

			/* Time table */
			input_booster,head_times = <130 130>;
			input_booster,tail_times = <500 500>;
			input_booster,phase_times = <0 0>;
		};
		booster_key@7 {
			input_booster,label = "MOUSE WHEEL";
			input_booster,type = <6>;	/* BOOSTER_DEVICE_MOUSE */

			input_booster,levels = <1 2>;

			/* Frequency table */
			/* for level	:	1_Head 2_Tail*/
			input_booster,cpu_freqs = <1200000 0>;
			input_booster,hmp_boost = <0 0>;
			input_booster,kfc_freqs = <1200000 0>;
			input_booster,mif_freqs = <0 0>;
			input_booster,int_freqs = <0 0>;

			/* Time table */
			input_booster,head_times = <130 0>;
			input_booster,tail_times = <0 0>;
			input_booster,phase_times = <0 0>;
		};
		booster_key@8 {
			input_booster,label = "PEN & HOVER";
			input_booster,type = <7>;	/* BOOSTER_DEVICE_PEN & HOVER */

			input_booster,levels = <1 2>;

			/* Frequency table */
			/* for level	:	1_Head 2_Tail*/
			input_booster,cpu_freqs = <1200000 1000000>;
			input_booster,hmp_boost = <0 0>;
			input_booster,kfc_freqs = <1200000 1000000>;
			input_booster,mif_freqs = <0 0>;
			input_booster,int_freqs = <0 0>;

			/* Time table */
			input_booster,head_times = <130 130>;
			input_booster,tail_times = <500 500>;
			input_booster,phase_times = <0 0>;
		};
		booster_key@9 {
			input_booster,label = "GAMEPAD";
			input_booster,type = <8>;	/* BOOSTER_DEVICE_GAMEPAD */

			input_booster,levels = <1 2>;

			/* Frequency table */
			/* for level	:	1_Head 2_Tail*/
			input_booster,cpu_freqs = <1400000 1000000>;
			input_booster,hmp_boost = <0 0>;
			input_booster,kfc_freqs = <1400000 1000000>;
			input_booster,mif_freqs = <0 0>;
			input_booster,int_freqs = <0 0>;

			/* Time table */
			input_booster,head_times = <130 130>;
			input_booster,tail_times = <500 500>;
			input_booster,phase_times = <0 0>;
		}; // Input Booster -
		/* If you need to add new key type, add it this position */
	};

	uart@13800000 {
		pinctrl-0 = <&uart0_rts &uart0_cts &uart0_tx &uart0_rx>;
	};

	gps {
		compatible = "samsung,exynos-bcm4752";
		gpios = <&gpd2 6 0x1>;
		status = "okay";
	};

	argos {
		compatible = "samsung,argos";
		#address-cells = <1>;
		/*  The device number should be assigned for each device, e.g. "boot_device@1" and "boot_device@2".
		    Duplicated number is not allowed. Please refer the below example. */

		/* Table Format should be
		 * <Throughput(Mbps) ARM_min ARM_max KFC_min KFC_max MIF INT Task IRQ>
		 * ARM_min : Big Core's minimum frequency lock. 0 means not set,
		 * ARM_max : Big Core's maximum frequency lock. 0 means not set,
		 * KFC_min : Little Core's minimum frequency lock. 0 means not set,
		 * KFC_max : Little Core's maximum frequency lock. 0 means not set,
		 * MIF : MIF frequency lock. 0 means not set,
		 * INT : INT frequency lock. 0 means not set,
		 * Task : 1 - Set task affinity lock.
		 *        0 - Not set or unlock,
		 *              Task affinity should be predefined driver's code.
		 * IRQ : 1 - Set irq affinity lock.
		 *       0 - Not set or unlock,
		 *              Task affinity should be predefined driver's code.
		 */
		boot_device@1 {
			net_boost,label="IPC";
			net_boost,node="rmnet0 rmnet1 rmnet2 rmnet3 rmnet4 rmnet5 rmnet6 rmnet7 umts_dm0";
			net_boost,table_size = <4>;
			net_boost,table= <  1 0 0 0 0 0 0 0 1
					   20 0 0 800000 0 416000 100000 0 1
					   50 0 0 1000000 0 825000 100000 0 1
					  100 0 0 1400000 0 825000 100000 0 1>;
		};
		 boot_device@2 {
			net_boost,label="P2P";
			net_boost,node="p2p-wlan0-0";
			net_boost,table_size = <3>;
			net_boost,table= <
				30 1200000 0 1200000 0 200000 0 0 0
				50 1500000 0 1500000 0 416000 100000 0 0
				90 1600000 0 1600000 0 825000 100000 1 1
				>;
		};
		boot_device@3 {
			net_boost,label="USB";
			net_boost,node="rndis0";
			net_boost,table_size = <1>;
			net_boost,table= < 1 0 0 0 0 0 0 0 1 >;
		};		
		boot_device@4 {
			net_boost,label="WIFI";
			net_boost,node="wlan0";
			net_boost,table_size = <1>;
			net_boost,table= <
				60 0 0 0 0 0 0 1 1
				>;
		 };
		boot_device@5 {
			net_boost,label="WIFI TX";
			net_boost,node="wlan0";
			net_boost,table_size = <3>;
			net_boost,table= <
				20 1000000 0 1000000 0 200000 0 0 0
				60 1600000 0 1600000 0 825000 100000 1 1
				120 1600000 0 1600000 0 825000 100000 1 1
				>;
		 };
		boot_device@6 {
			net_boost,label="WIFI RX";
			net_boost,node="wlan0";
			net_boost,table_size = <2>;
			net_boost,table= <
				80 1400000 0 1400000 0 825000 100000 1 1
				120 1600000 0 1600000 0 825000 100000 1 1
				>;
		 };
		/* Example
		   boot_device@2 {
		   net_boost,label="EMMC";
		   net_boost,node="";
		   net_boost,sysnode="/sys/class/mmc_host/mmc0/trans_count";
		   net_boost,table_size = <1>;
		   net_boost,table= <64 0 0 1300000 0 825000 400000 0 0>;
		   };
		   boot_device@3 {
		   net_boost,label="WIFI";
		   net_boost,node="wlan0";
		   net_boost,table_size = <3>;
		   net_boost,table= <60 1000000 0 800000 0 0 200000 0 0
		   100 1200000 0 1000000 0 0 200000 0 0
		   180 1700000 0 1100000 0 543000 267000 0 0>;
		   };
		   boot_device@4 {
		   net_boost,label="P2P";
		   net_boost,node="p2p-wlan0-0";
		   net_boost,table_size = <3>;
		   net_boost,table= <30 1000000 0 800000 0 0 200000 0 0
		   50 1200000 0 1000000 0 0 200000 0 0
		   90 1700000 0 1100000 0 543000 267000 0 0>;
		   };
		   boot_device@5 {
		   net_boost,label="CLAT";
		   net_boost,node="clat clat4";
		   net_boost,table_size = <3>;
		   net_boost,table= <120 1400000 0 0 0 825000 0 0 0
		   130 1500000 0 0 0 825000 0 0 0
		   150 1600000 0 0 0 825000 0 0 0>;
		   };
		 */
	};

	

	sec_thermistor@0 {
		compatible = "samsung,sec-ap-thermistor";
		status = "okay";

		adc_array = <300 351 407 481 559 667 700 784 850 922
				1056 1217 1288 1404 1577 1808 2025 2246 2460
				2672 2870 3031 3140 3188 3260 3335 3410>;
		temp_array = <900 850 800 750 700 650 630 600 580 550
				500 450 430 400 350 300 250 200 150
				100 50 0 (-30) (-50) (-100) (-150) (-200)>;
		io-channels = <&exynos_adc 0>;
		io-channel-names = "adc-ap-temp";
		io-channel-ranges;
	};
		
	gpio_detect {
		status = "okay";
		compatible = "gpio_detect";
		pinctrl-names = "default";
		pinctrl-0 = <&gpiodetect_irq>;
		gpios = <&gpa3 4 0	/*VRECT_EN*/>;
	};
};
